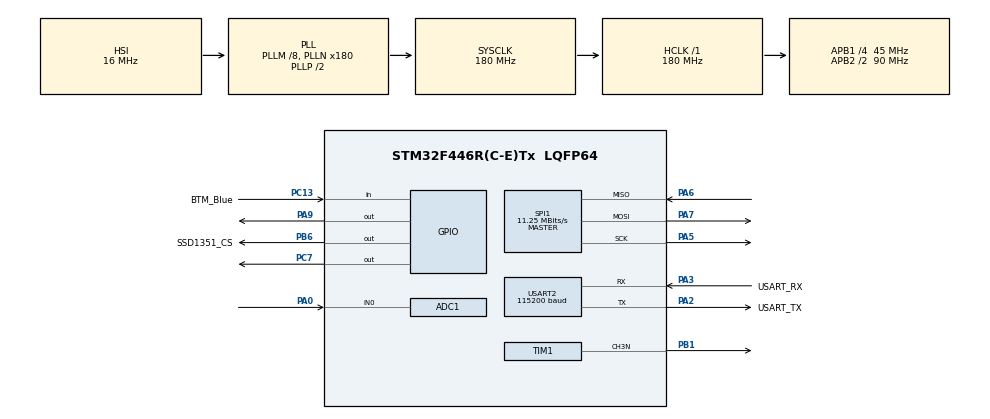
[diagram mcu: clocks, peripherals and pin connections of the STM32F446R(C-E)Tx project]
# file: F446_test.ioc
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ADC1.Channel-0\#ChannelRegularConversion=ADC_CHANNEL_0
ADC1.ContinuousConvMode=ENABLE
ADC1.DMAContinuousRequests=DISABLE
ADC1.InjNumberOfConversion=0
ADC1.NbrOfConversion=1
ADC1.NbrOfConversionFlag=1
ADC1.Rank-0\#ChannelRegularConversion=1
ADC1.SamplingTime-0\#ChannelRegularConversion=ADC_SAMPLETIME_3CYCLES
ADC1.ScanConvMode=ENABLE
ADC1.master=1
Dma.Request0=TIM1_CH3
Dma.TIM1_CH3.0.Direction=DMA_MEMORY_TO_PERIPH
Dma.TIM1_CH3.0.FIFOMode=DMA_FIFOMODE_DISABLE
Dma.TIM1_CH3.0.Instance=DMA2_Stream6
Dma.TIM1_CH3.0.MemDataAlignment=DMA_MDATAALIGN_HALFWORD
Dma.TIM1_CH3.0.MemInc=DMA_MINC_ENABLE
Dma.TIM1_CH3.0.Mode=DMA_NORMAL
Dma.TIM1_CH3.0.PeriphDataAlignment=DMA_PDATAALIGN_HALFWORD
Dma.TIM1_CH3.0.PeriphInc=DMA_PINC_DISABLE
Dma.TIM1_CH3.0.Priority=DMA_PRIORITY_VERY_HIGH
Mcu.Family=STM32F4
Mcu.Name=STM32F446R(C-E)Tx
Mcu.Package=LQFP64
NVIC.DMA2_Stream6_IRQn=true\:0\:0\:false\:false\:true\:false\:true\:true
NVIC.PriorityGroup=NVIC_PRIORITYGROUP_0
NVIC.TIM6_DAC_IRQn=true\:0\:0\:false\:false\:true\:true\:true\:true
PA0-WKUP.Signal=ADCx_IN0
PA13.GPIO_Label=TMS
PA13.Mode=Trace_Asynchronous_SW
PA13.Signal=SYS_JTMS-SWDIO
PA14.GPIO_Label=TCK
PA14.Mode=Trace_Asynchronous_SW
PA14.Signal=SYS_JTCK-SWCLK
PA2.GPIO_Label=USART_TX
PA2.Mode=Asynchronous
PA2.Signal=USART2_TX
PA3.GPIO_Label=USART_RX
PA3.Mode=Asynchronous
PA3.Signal=USART2_RX
PA5.Mode=Full_Duplex_Master
PA5.Signal=SPI1_SCK
PA6.Mode=Full_Duplex_Master
PA6.Signal=SPI1_MISO
PA7.Mode=Full_Duplex_Master
PA7.Signal=SPI1_MOSI
PA9.Signal=GPIO_Output
PB1.GPIO_PuPd=GPIO_NOPULL
PB1.GPIO_Speed=GPIO_SPEED_FREQ_VERY_HIGH
PB1.Mode=PWM Generation3 CH3N
PB1.Signal=TIM1_CH3N
PB3.Mode=Trace_Asynchronous_SW
PB3.Signal=SYS_JTDO-SWO
PB6.GPIO_Label=SSD1351_CS
PB6.Signal=GPIO_Output
PC13.GPIO_Label=BTM_Blue
PC13.Signal=GPIO_Input
PC14-OSC32_IN.Mode=LSE-External-Oscillator
PC14-OSC32_IN.Signal=RCC_OSC32_IN
PC15-OSC32_OUT.Mode=LSE-External-Oscillator
PC15-OSC32_OUT.Signal=RCC_OSC32_OUT
PC7.Signal=GPIO_Output
PH0-OSC_IN.Mode=HSE-External-Oscillator
PH0-OSC_IN.Signal=RCC_OSC_IN
PH1-OSC_OUT.Mode=HSE-External-Oscillator
PH1-OSC_OUT.Signal=RCC_OSC_OUT
ProjectManager.HeapSize=0x200
ProjectManager.StackSize=0x400
ProjectManager.TargetToolchain=STM32CubeIDE
RCC.48MHZClocksFreq_Value=84000000
RCC.AHBFreq_Value=180000000
RCC.APB1CLKDivider=RCC_HCLK_DIV4
RCC.APB1Freq_Value=45000000
RCC.APB1TimFreq_Value=90000000
RCC.APB2CLKDivider=RCC_HCLK_DIV2
RCC.APB2Freq_Value=90000000
RCC.APB2TimFreq_Value=180000000
RCC.CortexFreq_Value=180000000
RCC.FLatency-AdvancedSettings=FLASH_LATENCY_5
RCC.HCLKFreq_Value=180000000
RCC.HSE_VALUE=8000000
RCC.HSI_VALUE=16000000
RCC.PLLM=8
RCC.PLLN=180
RCC.SYSCLKFreq_VALUE=180000000
RCC.SYSCLKSource=RCC_SYSCLKSOURCE_PLLCLK
RCC.USBFreq_Value=180000000
RCC.VCOOutputFreq_Value=360000000
SH.ADCx_IN0.0=ADC1_IN0,IN0
SPI1.BaudRatePrescaler=SPI_BAUDRATEPRESCALER_8
SPI1.CLKPhase=SPI_PHASE_1EDGE
SPI1.CLKPolarity=SPI_POLARITY_LOW
SPI1.CalculateBaudRate=11.25 MBits/s
SPI1.Direction=SPI_DIRECTION_2LINES
SPI1.Mode=SPI_MODE_MASTER
SPI1.VirtualType=VM_MASTER
TIM1.AutoReloadPreload=TIM_AUTORELOAD_PRELOAD_ENABLE
TIM1.Channel-PWM\ Generation3\ CH3N=TIM_CHANNEL_3
TIM1.OCFastMode_PWM-PWM\ Generation3\ CH3N=TIM_OCFAST_ENABLE
TIM1.OCNIdleState_3=TIM_OCNIDLESTATE_SET
TIM1.OCNPolarity_3=TIM_OCNPOLARITY_HIGH
TIM1.Period=224
TIM13.Period=224
TIM13.Prescaler=11
TIM6.AutoReloadPreload=TIM_AUTORELOAD_PRELOAD_DISABLE
TIM6.Period=7499
TIM6.Prescaler=11
USART2.BaudRate=115200
USART2.VirtualMode=VM_ASYNC
VP_TIM13_VS_ClockSourceINT.Mode=Enable_Timer
VP_TIM6_VS_ClockSourceINT.Mode=Enable_Timer
board=NUCLEO-F446RE

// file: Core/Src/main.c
/* USER CODE BEGIN Header */
/**
  ******************************************************************************
  * @file           : main.c
  * @brief          : Main program body
  ******************************************************************************
  * @attention
  *
  * Copyright (c) 2022 STMicroelectronics.
  * All rights reserved.
  *
  * This software is licensed under terms that can be found in the LICENSE file
  * in the root directory of this software component.
  * If no LICENSE file comes with this software, it is provided AS-IS.
  *
  ******************************************************************************
  */
/* USER CODE END Header */
#include "main.h"

/* USER CODE BEGIN PD */
#ifdef __GNUC__
	#define PUTCHAR_PROTOTYPE int __io_putchar(int ch)
#else
	#define PUTCHAR_PROTOTYPE int fputc(int ch, FILE *f)
#endif /*__GNUC__*/
/* USER CODE END PD */

ADC_HandleTypeDef hadc1;

SPI_HandleTypeDef hspi1;

TIM_HandleTypeDef htim1;
TIM_HandleTypeDef htim6;
TIM_HandleTypeDef htim13;
DMA_HandleTypeDef hdma_tim1_ch3;

UART_HandleTypeDef huart2;

void SystemClock_Config(void);
static void MX_GPIO_Init(void);
static void MX_DMA_Init(void);
static void MX_TIM6_Init(void);
static void MX_USART2_UART_Init(void);
static void MX_ADC1_Init(void);
static void MX_TIM13_Init(void);
static void MX_TIM1_Init(void);
static void MX_SPI1_Init(void);

/* USER CODE BEGIN 0 */
void HAL_TIM_PWM_PulseFinishedCallback(TIM_HandleTypeDef *htim)
{
	HAL_TIMEx_PWMN_Stop_DMA(&htim1, TIM_CHANNEL_3);
	datasentflag=1;
}
/* USER CODE END 0 */

int main(void)
{

  /* MCU Configuration--------------------------------------------------------*/

  /* Reset of all peripherals, Initializes the Flash interface and the Systick. */
  HAL_Init();

  /* Configure the system clock */
  SystemClock_Config();

  /* Initialize all configured peripherals */
  MX_GPIO_Init();
  MX_DMA_Init();
  MX_TIM6_Init();
  MX_USART2_UART_Init();
  MX_ADC1_Init();
  MX_TIM13_Init();
  MX_TIM1_Init();
  MX_SPI1_Init();
  /* USER CODE BEGIN 2 */
  initSys();
	SSD1351_Unselect();
    SSD1351_Init();

  /* USER CODE END 2 */

  /* Infinite loop */
  /* USER CODE BEGIN WHILE */
  while (1)
  {
	// WS2812
//    Set_LED(0, 200, 0, 0);
//    Set_Brightness(5);
//    WS2812_Send();
//    HAL_Delay (50);
    // for (int i=0; i<46; i++)
	  // {
		//   Set_Brightness(i);
		//   WS2812_Send();
		//   HAL_Delay (50);
	  // }

	  // for (int i=45; i>=0; i--)
	  // {
		//   Set_Brightness(i);
		//   WS2812_Send();
		//   HAL_Delay (50);
	  // }

	// Check border
    SSD1351_FillScreen(SSD1351_BLACK);

    for(int x = 0; x < SSD1351_WIDTH; x++) {
        SSD1351_DrawPixel(x, 0, SSD1351_RED);
        SSD1351_DrawPixel(x, SSD1351_HEIGHT-1, SSD1351_RED);
    }

    for(int y = 0; y < SSD1351_HEIGHT; y++) {
        SSD1351_DrawPixel(0, y, SSD1351_RED);
        SSD1351_DrawPixel(SSD1351_WIDTH-1, y, SSD1351_RED);
    }

    HAL_Delay(3000);

    // Check fonts
    SSD1351_FillScreen(SSD1351_BLACK);
    SSD1351_WriteString(0, 0, "Font_7x10, red on black, lorem ipsum dolor sit amet", Font_7x10, SSD1351_RED, SSD1351_BLACK);
    SSD1351_WriteString(0, 3*10, "Font_11x18, green, lorem ipsum", Font_11x18, SSD1351_GREEN, SSD1351_BLACK);
    SSD1351_WriteString(0, 3*10+3*18, "Font_16x26, blue, lorem ipsum dolor sit amet", Font_16x26, SSD1351_BLUE, SSD1351_BLACK);

    HAL_Delay(1000);
    SSD1351_InvertColors(true);
    HAL_Delay(1000);
    SSD1351_InvertColors(false);

    HAL_Delay(5000);

    // Check colors
    SSD1351_FillScreen(SSD1351_WHITE);
    SSD1351_WriteString(0, 0, "WHITE", Font_11x18, SSD1351_BLACK, SSD1351_WHITE);
    HAL_Delay(500);

    SSD1351_FillScreen(SSD1351_BLUE);
    SSD1351_WriteString(0, 0, "BLUE", Font_11x18, SSD1351_BLACK, SSD1351_BLUE);
    HAL_Delay(500);

    SSD1351_FillScreen(SSD1351_RED);
    SSD1351_WriteString(0, 0, "RED", Font_11x18, SSD1351_BLACK, SSD1351_RED);
    HAL_Delay(500);

    SSD1351_FillScreen(SSD1351_GREEN);
    SSD1351_WriteString(0, 0, "GREEN", Font_11x18, SSD1351_BLACK, SSD1351_GREEN);
    HAL_Delay(500);

    SSD1351_FillScreen(SSD1351_CYAN);
    SSD1351_WriteString(0, 0, "CYAN", Font_11x18, SSD1351_BLACK, SSD1351_CYAN);
    HAL_Delay(500);

    SSD1351_FillScreen(SSD1351_MAGENTA);
    SSD1351_WriteString(0, 0, "MAGENTA", Font_11x18, SSD1351_BLACK, SSD1351_MAGENTA);
    HAL_Delay(500);

    SSD1351_FillScreen(SSD1351_YELLOW);
    SSD1351_WriteString(0, 0, "YELLOW", Font_11x18, SSD1351_BLACK, SSD1351_YELLOW);
    HAL_Delay(500);

    SSD1351_FillScreen(SSD1351_BLACK);
    SSD1351_WriteString(0, 0, "BLACK", Font_11x18, SSD1351_WHITE, SSD1351_BLACK);
    HAL_Delay(500);

    SSD1351_DrawImage(0, 0, 128, 128, (const uint16_t*)test_img_128x128);

    HAL_Delay(10000);

    /* USER CODE END WHILE */

  }
}

void SystemClock_Config(void)
{
  RCC_OscInitTypeDef RCC_OscInitStruct = {0};
  RCC_ClkInitTypeDef RCC_ClkInitStruct = {0};

  /** Configure the main internal regulator output voltage
  */
  __HAL_RCC_PWR_CLK_ENABLE();
  __HAL_PWR_VOLTAGESCALING_CONFIG(PWR_REGULATOR_VOLTAGE_SCALE1);

  /** Initializes the RCC Oscillators according to the specified parameters
  * in the RCC_OscInitTypeDef structure.
  */
  RCC_OscInitStruct.OscillatorType = RCC_OSCILLATORTYPE_HSI;
  RCC_OscInitStruct.HSIState = RCC_HSI_ON;
  RCC_OscInitStruct.HSICalibrationValue = RCC_HSICALIBRATION_DEFAULT;
  RCC_OscInitStruct.PLL.PLLState = RCC_PLL_ON;
  RCC_OscInitStruct.PLL.PLLSource = RCC_PLLSOURCE_HSI;
  RCC_OscInitStruct.PLL.PLLM = 8;
  RCC_OscInitStruct.PLL.PLLN = 180;
  RCC_OscInitStruct.PLL.PLLP = RCC_PLLP_DIV2;
  RCC_OscInitStruct.PLL.PLLQ = 2;
  RCC_OscInitStruct.PLL.PLLR = 2;
  if (HAL_RCC_OscConfig(&RCC_OscInitStruct) != HAL_OK)
  {
    Error_Handler();
  }

  /** Activate the Over-Drive mode
  */
  if (HAL_PWREx_EnableOverDrive() != HAL_OK)
  {
    Error_Handler();
  }

  /** Initializes the CPU, AHB and APB buses clocks
  */
  RCC_ClkInitStruct.ClockType = RCC_CLOCKTYPE_HCLK|RCC_CLOCKTYPE_SYSCLK
                              |RCC_CLOCKTYPE_PCLK1|RCC_CLOCKTYPE_PCLK2;
  RCC_ClkInitStruct.SYSCLKSource = RCC_SYSCLKSOURCE_PLLCLK;
  RCC_ClkInitStruct.AHBCLKDivider = RCC_SYSCLK_DIV1;
  RCC_ClkInitStruct.APB1CLKDivider = RCC_HCLK_DIV4;
  RCC_ClkInitStruct.APB2CLKDivider = RCC_HCLK_DIV2;

  if (HAL_RCC_ClockConfig(&RCC_ClkInitStruct, FLASH_LATENCY_5) != HAL_OK)
  {
    Error_Handler();
  }
}

static void MX_ADC1_Init(void)
{

  ADC_ChannelConfTypeDef sConfig = {0};

  /** Configure the global features of the ADC (Clock, Resolution, Data Alignment and number of conversion)
  */
  hadc1.Instance = ADC1;
  hadc1.Init.ClockPrescaler = ADC_CLOCK_SYNC_PCLK_DIV4;
  hadc1.Init.Resolution = ADC_RESOLUTION_12B;
  hadc1.Init.ScanConvMode = ENABLE;
  hadc1.Init.ContinuousConvMode = ENABLE;
  hadc1.Init.DiscontinuousConvMode = DISABLE;
  hadc1.Init.ExternalTrigConvEdge = ADC_EXTERNALTRIGCONVEDGE_NONE;
  hadc1.Init.ExternalTrigConv = ADC_SOFTWARE_START;
  hadc1.Init.DataAlign = ADC_DATAALIGN_RIGHT;
  hadc1.Init.NbrOfConversion = 1;
  hadc1.Init.DMAContinuousRequests = DISABLE;
  hadc1.Init.EOCSelection = ADC_EOC_SINGLE_CONV;
  if (HAL_ADC_Init(&hadc1) != HAL_OK)
  {
    Error_Handler();
  }

  /** Configure for the selected ADC regular channel its corresponding rank in the sequencer and its sample time.
  */
  sConfig.Channel = ADC_CHANNEL_0;
  sConfig.Rank = 1;
  sConfig.SamplingTime = ADC_SAMPLETIME_3CYCLES;
  if (HAL_ADC_ConfigChannel(&hadc1, &sConfig) != HAL_OK)
  {
    Error_Handler();
  }

}

static void MX_SPI1_Init(void)
{

  /* SPI1 parameter configuration*/
  hspi1.Instance = SPI1;
  hspi1.Init.Mode = SPI_MODE_MASTER;
  hspi1.Init.Direction = SPI_DIRECTION_2LINES;
  hspi1.Init.DataSize = SPI_DATASIZE_8BIT;
  hspi1.Init.CLKPolarity = SPI_POLARITY_LOW;
  hspi1.Init.CLKPhase = SPI_PHASE_1EDGE;
  hspi1.Init.NSS = SPI_NSS_SOFT;
  hspi1.Init.BaudRatePrescaler = SPI_BAUDRATEPRESCALER_8;
  hspi1.Init.FirstBit = SPI_FIRSTBIT_MSB;
  hspi1.Init.TIMode = SPI_TIMODE_DISABLE;
  hspi1.Init.CRCCalculation = SPI_CRCCALCULATION_DISABLE;
  hspi1.Init.CRCPolynomial = 10;
  if (HAL_SPI_Init(&hspi1) != HAL_OK)
  {
    Error_Handler();
  }

}

static void MX_TIM1_Init(void)
{

  TIM_MasterConfigTypeDef sMasterConfig = {0};
  TIM_OC_InitTypeDef sConfigOC = {0};
  TIM_BreakDeadTimeConfigTypeDef sBreakDeadTimeConfig = {0};

  htim1.Instance = TIM1;
  htim1.Init.Prescaler = 0;
  htim1.Init.CounterMode = TIM_COUNTERMODE_UP;
  htim1.Init.Period = 224;
  htim1.Init.ClockDivision = TIM_CLOCKDIVISION_DIV1;
  htim1.Init.RepetitionCounter = 0;
  htim1.Init.AutoReloadPreload = TIM_AUTORELOAD_PRELOAD_ENABLE;
  if (HAL_TIM_PWM_Init(&htim1) != HAL_OK)
  {
    Error_Handler();
  }
  sMasterConfig.MasterOutputTrigger = TIM_TRGO_RESET;
  sMasterConfig.MasterSlaveMode = TIM_MASTERSLAVEMODE_DISABLE;
  if (HAL_TIMEx_MasterConfigSynchronization(&htim1, &sMasterConfig) != HAL_OK)
  {
    Error_Handler();
  }
  sConfigOC.OCMode = TIM_OCMODE_PWM1;
  sConfigOC.Pulse = 0;
  sConfigOC.OCPolarity = TIM_OCPOLARITY_HIGH;
  sConfigOC.OCNPolarity = TIM_OCNPOLARITY_HIGH;
  sConfigOC.OCFastMode = TIM_OCFAST_ENABLE;
  sConfigOC.OCIdleState = TIM_OCIDLESTATE_RESET;
  sConfigOC.OCNIdleState = TIM_OCNIDLESTATE_SET;
  if (HAL_TIM_PWM_ConfigChannel(&htim1, &sConfigOC, TIM_CHANNEL_3) != HAL_OK)
  {
    Error_Handler();
  }
  sBreakDeadTimeConfig.OffStateRunMode = TIM_OSSR_DISABLE;
  sBreakDeadTimeConfig.OffStateIDLEMode = TIM_OSSI_DISABLE;
  sBreakDeadTimeConfig.LockLevel = TIM_LOCKLEVEL_OFF;
  sBreakDeadTimeConfig.DeadTime = 0;
  sBreakDeadTimeConfig.BreakState = TIM_BREAK_DISABLE;
  sBreakDeadTimeConfig.BreakPolarity = TIM_BREAKPOLARITY_HIGH;
  sBreakDeadTimeConfig.AutomaticOutput = TIM_AUTOMATICOUTPUT_DISABLE;
  if (HAL_TIMEx_ConfigBreakDeadTime(&htim1, &sBreakDeadTimeConfig) != HAL_OK)
  {
    Error_Handler();
  }
  HAL_TIM_MspPostInit(&htim1);

}

static void MX_TIM6_Init(void)
{

  TIM_MasterConfigTypeDef sMasterConfig = {0};

  htim6.Instance = TIM6;
  htim6.Init.Prescaler = 11;
  htim6.Init.CounterMode = TIM_COUNTERMODE_UP;
  htim6.Init.Period = 7499;
  htim6.Init.AutoReloadPreload = TIM_AUTORELOAD_PRELOAD_DISABLE;
  if (HAL_TIM_Base_Init(&htim6) != HAL_OK)
  {
    Error_Handler();
  }
  sMasterConfig.MasterOutputTrigger = TIM_TRGO_RESET;
  sMasterConfig.MasterSlaveMode = TIM_MASTERSLAVEMODE_DISABLE;
  if (HAL_TIMEx_MasterConfigSynchronization(&htim6, &sMasterConfig) != HAL_OK)
  {
    Error_Handler();
  }

}

static void MX_TIM13_Init(void)
{

  htim13.Instance = TIM13;
  htim13.Init.Prescaler = 11;
  htim13.Init.CounterMode = TIM_COUNTERMODE_UP;
  htim13.Init.Period = 224;
  htim13.Init.ClockDivision = TIM_CLOCKDIVISION_DIV1;
  htim13.Init.AutoReloadPreload = TIM_AUTORELOAD_PRELOAD_DISABLE;
  if (HAL_TIM_Base_Init(&htim13) != HAL_OK)
  {
    Error_Handler();
  }

}

static void MX_USART2_UART_Init(void)
{

  huart2.Instance = USART2;
  huart2.Init.BaudRate = 115200;
  huart2.Init.WordLength = UART_WORDLENGTH_8B;
  huart2.Init.StopBits = UART_STOPBITS_1;
  huart2.Init.Parity = UART_PARITY_NONE;
  huart2.Init.Mode = UART_MODE_TX_RX;
  huart2.Init.HwFlowCtl = UART_HWCONTROL_NONE;
  huart2.Init.OverSampling = UART_OVERSAMPLING_16;
  if (HAL_UART_Init(&huart2) != HAL_OK)
  {
    Error_Handler();
  }

}

static void MX_DMA_Init(void)
{

  /* DMA controller clock enable */
  __HAL_RCC_DMA2_CLK_ENABLE();

  /* DMA interrupt init */
  /* DMA2_Stream6_IRQn interrupt configuration */
  HAL_NVIC_SetPriority(DMA2_Stream6_IRQn, 0, 0);
  HAL_NVIC_EnableIRQ(DMA2_Stream6_IRQn);

}

static void MX_GPIO_Init(void)
{
  GPIO_InitTypeDef GPIO_InitStruct = {0};

  /* GPIO Ports Clock Enable */
  __HAL_RCC_GPIOC_CLK_ENABLE();
  __HAL_RCC_GPIOH_CLK_ENABLE();
  __HAL_RCC_GPIOA_CLK_ENABLE();
  __HAL_RCC_GPIOB_CLK_ENABLE();

  /*Configure GPIO pin Output Level */
  HAL_GPIO_WritePin(GPIOC, GPIO_PIN_7, GPIO_PIN_RESET);

  /*Configure GPIO pin Output Level */
  HAL_GPIO_WritePin(GPIOA, GPIO_PIN_9, GPIO_PIN_RESET);

  /*Configure GPIO pin Output Level */
  HAL_GPIO_WritePin(SSD1351_CS_GPIO_Port, SSD1351_CS_Pin, GPIO_PIN_RESET);

  /*Configure GPIO pin : BTM_Blue_Pin */
  GPIO_InitStruct.Pin = BTM_Blue_Pin;
  GPIO_InitStruct.Mode = GPIO_MODE_INPUT;
  GPIO_InitStruct.Pull = GPIO_NOPULL;
  HAL_GPIO_Init(BTM_Blue_GPIO_Port, &GPIO_InitStruct);

  /*Configure GPIO pin : PC7 */
  GPIO_InitStruct.Pin = GPIO_PIN_7;
  GPIO_InitStruct.Mode = GPIO_MODE_OUTPUT_PP;
  GPIO_InitStruct.Pull = GPIO_NOPULL;
  GPIO_InitStruct.Speed = GPIO_SPEED_FREQ_LOW;
  HAL_GPIO_Init(GPIOC, &GPIO_InitStruct);

  /*Configure GPIO pin : PA9 */
  GPIO_InitStruct.Pin = GPIO_PIN_9;
  GPIO_InitStruct.Mode = GPIO_MODE_OUTPUT_PP;
  GPIO_InitStruct.Pull = GPIO_NOPULL;
  GPIO_InitStruct.Speed = GPIO_SPEED_FREQ_LOW;
  HAL_GPIO_Init(GPIOA, &GPIO_InitStruct);

  /*Configure GPIO pin : SSD1351_CS_Pin */
  GPIO_InitStruct.Pin = SSD1351_CS_Pin;
  GPIO_InitStruct.Mode = GPIO_MODE_OUTPUT_PP;
  GPIO_InitStruct.Pull = GPIO_NOPULL;
  GPIO_InitStruct.Speed = GPIO_SPEED_FREQ_LOW;
  HAL_GPIO_Init(SSD1351_CS_GPIO_Port, &GPIO_InitStruct);

}

/* USER CODE BEGIN 4 */
int _write(int file, char *ptr, int len)
{
  int DataIdx;
  for(DataIdx=0; DataIdx<len; DataIdx++)
  {
    ITM_SendChar(*ptr++);
  }
  return len;
}
void HAL_ADC_ConvCpltCallback(ADC_HandleTypeDef* AdcHandle) {
	//ADC process
}
void HAL_TIM_PeriodElapsedCallback(TIM_HandleTypeDef *htim)
{
	inturrpt1ms();
}
/* USER CODE END 4 */

void Error_Handler(void)
{
  __disable_irq();
  while (1)
  {
  }
}
